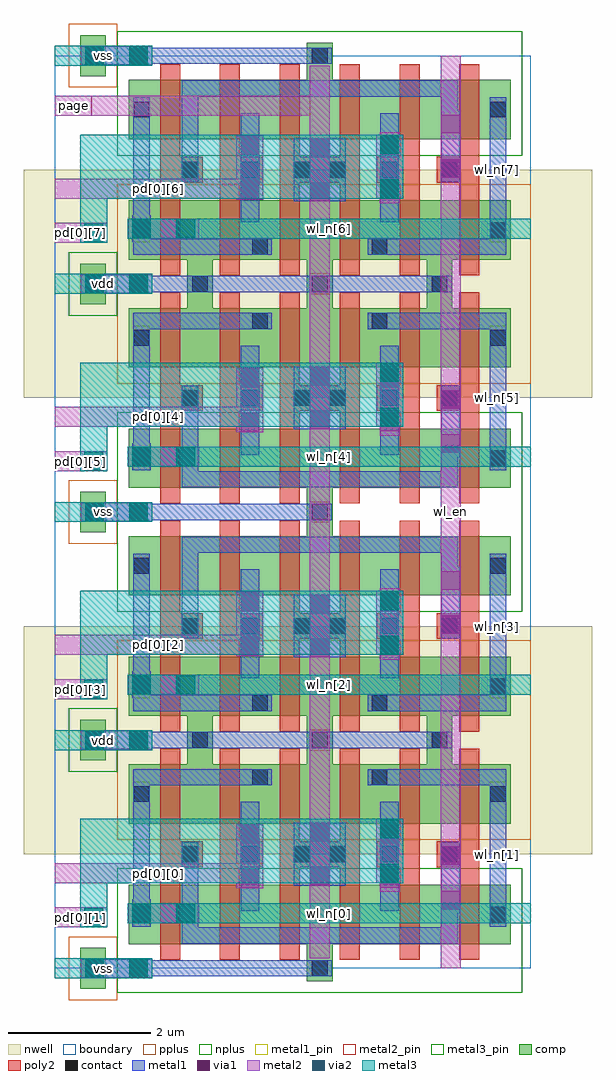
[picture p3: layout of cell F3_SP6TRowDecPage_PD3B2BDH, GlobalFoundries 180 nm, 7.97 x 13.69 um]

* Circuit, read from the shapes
.subckt F3_SP6TRowDecPage_PD3B2BDH page pd[0][0] pd[0][1] pd[0][2] pd[0][3] pd[0][4] pd[0][5] pd[0][6] pd[0][7] vdd vss wl_en wl_n[0] wl_n[1] wl_n[2] wl_n[3] wl_n[4] wl_n[5] wl_n[6] wl_n[7]
XM1 n1 wl_en wl_n[0] vss nfet_03v3 w=0.83u l=0.28u
XM2 n2 wl_en wl_n[2] vss nfet_03v3 w=0.83u l=0.28u
XM3 n3 wl_en wl_n[4] vss nfet_03v3 w=0.83u l=0.28u
XM4 n4 wl_en wl_n[6] vss nfet_03v3 w=0.83u l=0.28u
XM5 n5 pd[0][0] n1 vss nfet_03v3 w=0.83u l=0.28u
XM6 n6 pd[0][2] n2 vss nfet_03v3 w=0.83u l=0.28u
XM7 n7 pd[0][4] n3 vss nfet_03v3 w=0.83u l=0.28u
XM8 n8 pd[0][6] n4 vss nfet_03v3 w=0.83u l=0.28u
XM9 vss page n5 vss nfet_03v3 w=0.83u l=0.28u
XM10 vss page n6 vss nfet_03v3 w=0.83u l=0.28u
XM11 vss page n7 vss nfet_03v3 w=0.83u l=0.28u
XM12 vss page n8 vss nfet_03v3 w=0.83u l=0.28u
XM13 n9 page vss vss nfet_03v3 w=0.83u l=0.28u
XM14 n10 page vss vss nfet_03v3 w=0.83u l=0.28u
XM15 n11 page vss vss nfet_03v3 w=0.83u l=0.28u
XM16 n12 page vss vss nfet_03v3 w=0.83u l=0.28u
XM17 n13 pd[0][1] n9 vss nfet_03v3 w=0.83u l=0.28u
XM18 n14 pd[0][3] n10 vss nfet_03v3 w=0.83u l=0.28u
XM19 n15 pd[0][5] n11 vss nfet_03v3 w=0.83u l=0.28u
XM20 n16 pd[0][7] n12 vss nfet_03v3 w=0.83u l=0.28u
XM21 wl_n[1] wl_en n13 vss nfet_03v3 w=0.83u l=0.28u
XM22 wl_n[3] wl_en n14 vss nfet_03v3 w=0.83u l=0.28u
XM23 wl_n[5] wl_en n15 vss nfet_03v3 w=0.83u l=0.28u
XM24 wl_n[7] wl_en n16 vss nfet_03v3 w=0.83u l=0.28u
XM25 vdd wl_en wl_n[0] vdd pfet_03v3 w=0.83u l=0.28u
XM26 vdd wl_en wl_n[2] vdd pfet_03v3 w=0.83u l=0.28u
XM27 vdd wl_en wl_n[4] vdd pfet_03v3 w=0.83u l=0.28u
XM28 vdd wl_en wl_n[6] vdd pfet_03v3 w=0.83u l=0.28u
XM29 wl_n[0] pd[0][0] vdd vdd pfet_03v3 w=0.83u l=0.28u
XM30 wl_n[2] pd[0][2] vdd vdd pfet_03v3 w=0.83u l=0.28u
XM31 wl_n[4] pd[0][4] vdd vdd pfet_03v3 w=0.83u l=0.28u
XM32 wl_n[6] pd[0][6] vdd vdd pfet_03v3 w=0.83u l=0.28u
XM33 vdd page wl_n[0] vdd pfet_03v3 w=0.83u l=0.28u
XM34 vdd page wl_n[2] vdd pfet_03v3 w=0.83u l=0.28u
XM35 vdd page wl_n[4] vdd pfet_03v3 w=0.83u l=0.28u
XM36 vdd page wl_n[6] vdd pfet_03v3 w=0.83u l=0.28u
XM37 wl_n[1] page vdd vdd pfet_03v3 w=0.83u l=0.28u
XM38 wl_n[3] page vdd vdd pfet_03v3 w=0.83u l=0.28u
XM39 wl_n[5] page vdd vdd pfet_03v3 w=0.83u l=0.28u
XM40 wl_n[7] page vdd vdd pfet_03v3 w=0.83u l=0.28u
XM41 vdd pd[0][1] wl_n[1] vdd pfet_03v3 w=0.83u l=0.28u
XM42 vdd pd[0][3] wl_n[3] vdd pfet_03v3 w=0.83u l=0.28u
XM43 vdd pd[0][5] wl_n[5] vdd pfet_03v3 w=0.83u l=0.28u
XM44 vdd pd[0][7] wl_n[7] vdd pfet_03v3 w=0.83u l=0.28u
XM45 wl_n[1] wl_en vdd vdd pfet_03v3 w=0.83u l=0.28u
XM46 wl_n[3] wl_en vdd vdd pfet_03v3 w=0.83u l=0.28u
XM47 wl_n[5] wl_en vdd vdd pfet_03v3 w=0.83u l=0.28u
XM48 wl_n[7] wl_en vdd vdd pfet_03v3 w=0.83u l=0.28u
.ends

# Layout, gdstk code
import gdstk
lib = gdstk.Library(unit=1e-6, precision=1e-09)
def R(c, l, rs):  # rectangles x0, y0, x1, y1
    for r in rs: c.add(gdstk.rectangle(r[:2], r[2:], *l))
def A(c, l, x, y, w, h, nx, ny, dx, dy):  # array of equal rectangles
    R(c, l, [(x+i*dx, y+j*dy, x+i*dx+w, y+j*dy+h) for i in range(nx) for j in range(ny)])
def P(c, l, *ps):  # polygons
    for p in ps: c.add(gdstk.Polygon(p, *l))
boundary = (0, 0)
nwell = (21, 0)
comp = (22, 0)
poly2 = (30, 0)
pplus = (31, 0)
nplus = (32, 0)
contact = (33, 0)
metal1 = (34, 0)
metal1_pin = (34, 10)
via1 = (35, 0)
metal2 = (36, 0)
metal2_pin = (36, 10)
via2 = (38, 0)
metal3 = (42, 0)
metal3_pin = (42, 10)

f3_sp6trowdecodernand3x2 = lib.new_cell('F3_SP6TRowDecoderNand3X2')
R(f3_sp6trowdecodernand3x2, boundary, [(0,0,6.68,3.2)])
R(f3_sp6trowdecodernand3x2, nwell, [(-0.43,1.6,7.54,3.915)])
A(f3_sp6trowdecodernand3x2, comp, 1.86, 2.03, 0.36, 1.35, 3, 1, 1.68, 0)
A(f3_sp6trowdecodernand3x2, comp, 1.86, 3.02, 0.36, 0.36, 3, 1, 1.68, 0)
R(f3_sp6trowdecodernand3x2, comp, [(0.36,-0.285,0.72,0.285), (3.54,-0.18,3.9,1.17), (3.54,-0.18,3.9,0.18), (1.04,0.34,6.4,1.17), (1.04,2.03,6.4,2.86), (0.36,2.915,0.72,3.485)])
P(f3_sp6trowdecodernand3x2, poly2, [(3.16,0.12),(3.16,3.08),(3.44,3.08),(3.44,1.78),(4,1.78),(4,3.08),(4.28,3.08),(4.28,0.12),(4,0.12),(4,1.42),(3.44,1.42),(3.44,0.12)],
  [(1.48,0.12),(1.48,3.08),(1.76,3.08),(1.76,1.78),(2.08,1.78),(2.08,1.42),(1.76,1.42),(1.76,0.12)],
  [(2.32,0.12),(2.32,3.08),(2.6,3.08),(2.6,1.78),(2.92,1.78),(2.92,1.42),(2.6,1.42),(2.6,0.12)],
  [(4.84,0.12),(4.84,1.42),(4.52,1.42),(4.52,1.78),(4.84,1.78),(4.84,3.08),(5.12,3.08),(5.12,0.12)],
  [(5.68,0.12),(5.68,1.42),(5.36,1.42),(5.36,1.78),(5.68,1.78),(5.68,3.08),(5.96,3.08),(5.96,0.12)])
R(f3_sp6trowdecodernand3x2, pplus, [(0.2,-0.445,0.88,0.445), (0.88,1.8,6.68,3.54)])
R(f3_sp6trowdecodernand3x2, nplus, [(0.88,-0.34,6.56,1.4), (0.2,2.755,0.88,3.645)])
A(f3_sp6trowdecodernand3x2, contact, 1.93, 3.09, 0.22, 0.22, 3, 1, 1.68, 0)
R(f3_sp6trowdecodernand3x2, contact, [(0.43,-0.11,0.65,0.11), (3.61,-0.11,3.83,0.11), (1.11,0.645,1.33,0.865), (6.11,0.645,6.33,0.865), (1.79,1.49,2.01,1.71), (2.63,1.49,2.85,1.71), (3.36,1.49,3.58,1.71), (3.86,1.49,4.08,1.71), (4.59,1.49,4.81,1.71), (5.43,1.49,5.65,1.71), (1.11,2.335,1.33,2.555), (6.11,2.335,6.33,2.555), (2.77,2.57,2.99,2.79), (4.45,2.57,4.67,2.79), (0.43,3.09,0.65,3.31)])
R(f3_sp6trowdecodernand3x2, metal1, [(2.61,0.805,2.87,2.335), (4.57,0.805,4.83,2.335), (3.355,1.16,4.085,2.04)])
P(f3_sp6trowdecodernand3x2, metal1, [(6.105,0.585),(6.105,2.565),(4.39,2.565),(4.39,2.795),(6.335,2.795),(6.335,0.585)],
  [(1.105,0.585),(1.105,2.795),(3.05,2.795),(3.05,2.565),(1.335,2.565),(1.335,0.585)],
  [(1.785,0.345),(1.785,1.77),(2.015,1.77),(2.015,0.575),(5.425,0.575),(5.425,1.77),(5.685,1.77),(5.685,0.77),(5.655,0.77),(5.655,0.345)],
  [(0.37,3.07),(0.37,3.33),(1.37,3.33),(1.37,3.315),(5.57,3.315),(5.57,3.085),(1.37,3.085),(1.37,3.07)],
  [(0.37,-0.13),(0.37,0.13),(1.37,0.13),(1.37,0.115),(3.89,0.115),(3.89,-0.115),(1.37,-0.115),(1.37,-0.13)])
R(f3_sp6trowdecodernand3x2, metal1_pin, [(1.105,0.585,1.335,2.615), (6.105,0.585,6.335,2.615), (2.61,0.805,2.87,2.335), (4.57,0.805,4.83,2.335)])
R(f3_sp6trowdecodernand3x2, via1, [(0.43,-0.13,0.69,0.13), (1.05,-0.13,1.31,0.13), (5.425,0.83,5.685,1.09), (3.59,1.16,3.85,1.42), (5.425,1.45,5.685,1.71), (3.59,1.78,3.85,2.04), (0.43,3.07,0.69,3.33), (1.05,3.07,1.31,3.33)])
R(f3_sp6trowdecodernand3x2, metal2, [(0.37,-0.14,1.37,0.14), (5.415,0,5.695,3.2), (3.58,0.14,3.86,3.06), (0.37,3.06,1.37,3.34)])
R(f3_sp6trowdecodernand3x2, metal2_pin, [(5.415,0,5.695,3.2), (3.58,0.14,3.86,3.06)])
R(f3_sp6trowdecodernand3x2, via2, [(0.43,-0.13,0.69,0.13), (1.05,-0.13,1.31,0.13), (0.43,3.07,0.69,3.33), (1.05,3.07,1.31,3.33)])
R(f3_sp6trowdecodernand3x2, metal3, [(0.37,-0.14,1.37,0.14), (0.37,3.06,1.37,3.34)])
R(f3_sp6trowdecodernand3x2, metal3_pin, [(0.37,-0.14,1.37,0.14), (0.37,3.06,1.37,3.34)])
f3_sp6trowdecodernand3x2.add(gdstk.Label('wl_n[1]', (6.22,1.6), layer=34, texttype=10))
f3_sp6trowdecodernand3x2.add(gdstk.Label('pd[0][1]', (4.7,1.57), layer=34, texttype=10))
f3_sp6trowdecodernand3x2.add(gdstk.Label('pd[0][0]', (2.74,1.57), layer=34, texttype=10))
f3_sp6trowdecodernand3x2.add(gdstk.Label('wl_n[0]', (1.22,1.6), layer=34, texttype=10))
f3_sp6trowdecodernand3x2.add(gdstk.Label('vdd', (0.87,3.2), layer=42, texttype=10))
f3_sp6trowdecodernand3x2.add(gdstk.Label('vss', (0.87,0), layer=42, texttype=10))
f3_sp6trowdecodernand3x2.add(gdstk.Label('page', (3.72,1.6), layer=36, texttype=10))
f3_sp6trowdecodernand3x2.add(gdstk.Label('wl_en', (5.555,1.6), layer=36, texttype=10))

f3_sp6trowdecpage_pd3b2b = lib.new_cell('F3_SP6TRowDecPage_PD3B2BDH')
R(f3_sp6trowdecpage_pd3b2b, boundary, [(0,0,6.68,12.8)])
A(f3_sp6trowdecpage_pd3b2b, metal1, 1.09, 0.585, 0.26, 0.38, 1, 4, 0, 3.2)
A(f3_sp6trowdecpage_pd3b2b, metal1, 6.105, 0.585, 0.23, 2.03, 1, 4, 0, 3.2)
R(f3_sp6trowdecpage_pd3b2b, metal1, [(2.61,1.07,2.87,2.07), (4.57,1.07,4.83,2.07), (2.61,4.33,2.87,5.33), (4.57,4.33,4.83,5.33), (2.61,7.47,2.87,8.47), (4.57,7.47,4.83,8.47), (2.61,10.73,2.87,11.73), (4.57,10.73,4.83,11.73)])
A(f3_sp6trowdecpage_pd3b2b, metal1_pin, 6.105, 0.585, 0.23, 2.03, 1, 4, 0, 3.2)
A(f3_sp6trowdecpage_pd3b2b, via1, 1.09, 0.645, 0.26, 0.26, 1, 4, 0, 3.2)
R(f3_sp6trowdecpage_pd3b2b, via1, [(2.61,1.13,2.87,1.39), (4.57,1.13,4.83,1.39), (2.61,1.75,2.87,2.01), (4.57,1.75,4.83,2.01), (2.61,4.39,2.87,4.65), (4.57,4.39,4.83,4.65), (2.61,5.01,2.87,5.27), (4.57,5.01,4.83,5.27), (2.61,7.53,2.87,7.79), (4.57,7.53,4.83,7.79), (2.61,8.15,2.87,8.41), (4.57,8.15,4.83,8.41), (2.61,10.79,2.87,11.05), (4.57,10.79,4.83,11.05), (2.61,11.41,2.87,11.67), (4.57,11.41,4.83,11.67)])
A(f3_sp6trowdecpage_pd3b2b, metal2, 0, 0.575, 0.74, 0.28, 1, 4, 0, 3.2)
A(f3_sp6trowdecpage_pd3b2b, metal2, 1.03, 0.635, 1, 0.28, 1, 4, 0, 3.2)
R(f3_sp6trowdecpage_pd3b2b, metal2, [(5.415,0,5.695,12.8)])
P(f3_sp6trowdecpage_pd3b2b, metal2, [(3.58,1.6),(3.58,11.96),(0,11.96),(0,12.24),(3.86,12.24),(3.86,1.6)],
  [(4.56,4.33),(4.56,4.395),(4.51,4.395),(4.51,5.295),(4.56,5.295),(4.56,5.33),(4.84,5.33),(4.84,5.295),(4.89,5.295),(4.89,4.395),(4.84,4.395),(4.84,4.33)],
  [(4.56,10.73),(4.56,10.795),(4.51,10.795),(4.51,11.695),(4.56,11.695),(4.56,11.73),(4.84,11.73),(4.84,11.695),(4.89,11.695),(4.89,10.795),(4.84,10.795),(4.84,10.73)],
  [(2.55,4.38),(2.55,4.395),(0,4.395),(0,4.675),(2.55,4.675),(2.55,5.28),(2.93,5.28),(2.93,4.38)],
  [(2.55,10.78),(2.55,10.795),(0,10.795),(0,11.075),(2.55,11.075),(2.55,11.68),(2.93,11.68),(2.93,10.78)],
  [(4.56,1.07),(4.56,1.195),(4.51,1.195),(4.51,2.095),(4.89,2.095),(4.89,1.195),(4.84,1.195),(4.84,1.07)],
  [(4.56,7.47),(4.56,7.595),(4.51,7.595),(4.51,8.495),(4.89,8.495),(4.89,7.595),(4.84,7.595),(4.84,7.47)],
  [(2.55,1.12),(2.55,1.195),(0,1.195),(0,1.475),(2.55,1.475),(2.55,2.02),(2.93,2.02),(2.93,1.12)],
  [(2.55,7.52),(2.55,7.595),(0,7.595),(0,7.875),(2.55,7.875),(2.55,8.42),(2.93,8.42),(2.93,7.52)])
A(f3_sp6trowdecpage_pd3b2b, metal2_pin, 0, 0.575, 0.74, 0.28, 1, 4, 0, 3.2)
A(f3_sp6trowdecpage_pd3b2b, metal2_pin, 0, 1.195, 2.93, 0.28, 1, 4, 0, 3.2)
R(f3_sp6trowdecpage_pd3b2b, metal2_pin, [(5.415,0,5.695,12.8), (0,11.96,0.52,12.24)])
A(f3_sp6trowdecpage_pd3b2b, via2, 0.42, 0.585, 0.26, 0.26, 1, 4, 0, 3.2)
A(f3_sp6trowdecpage_pd3b2b, via2, 1.09, 0.645, 0.26, 0.26, 1, 4, 0, 3.2)
A(f3_sp6trowdecpage_pd3b2b, via2, 1.71, 0.645, 0.26, 0.26, 1, 4, 0, 3.2)
R(f3_sp6trowdecpage_pd3b2b, via2, [(4.57,1.205,4.83,1.465), (4.57,1.825,4.83,2.085), (4.57,4.405,4.83,4.665), (4.57,5.025,4.83,5.285), (4.57,7.605,4.83,7.865), (4.57,8.225,4.83,8.485), (4.57,10.805,4.83,11.065), (4.57,11.425,4.83,11.685)])
A(f3_sp6trowdecpage_pd3b2b, metal3, 0, -0.14, 1.37, 0.28, 1, 5, 0, 3.2)
A(f3_sp6trowdecpage_pd3b2b, metal3, 1.03, 0.635, 5.65, 0.28, 1, 4, 0, 3.2)
P(f3_sp6trowdecpage_pd3b2b, metal3, [(0.36,0.575),(0.36,2.095),(4.89,2.095),(4.89,1.195),(0.74,1.195),(0.74,0.575)],
  [(0.36,3.775),(0.36,5.295),(4.89,5.295),(4.89,4.395),(0.74,4.395),(0.74,3.775)],
  [(0.36,6.975),(0.36,8.495),(4.89,8.495),(4.89,7.595),(0.74,7.595),(0.74,6.975)],
  [(0.36,10.175),(0.36,11.695),(4.89,11.695),(4.89,10.795),(0.74,10.795),(0.74,10.175)])
A(f3_sp6trowdecpage_pd3b2b, metal3_pin, 0, -0.14, 1.37, 0.28, 1, 5, 0, 3.2)
A(f3_sp6trowdecpage_pd3b2b, metal3_pin, 1.03, 0.635, 5.65, 0.28, 1, 4, 0, 3.2)
f3_sp6trowdecpage_pd3b2b.add(gdstk.Reference(f3_sp6trowdecodernand3x2, (0,6.4), x_reflection=True))
f3_sp6trowdecpage_pd3b2b.add(gdstk.Reference(f3_sp6trowdecodernand3x2, (0,12.8), x_reflection=True))
f3_sp6trowdecpage_pd3b2b.add(gdstk.Reference(f3_sp6trowdecodernand3x2, (0,0)))
f3_sp6trowdecpage_pd3b2b.add(gdstk.Reference(f3_sp6trowdecodernand3x2, (0,6.4)))
f3_sp6trowdecpage_pd3b2b.add(gdstk.Label('wl_n[7]', (6.22,11.2), layer=34, texttype=10))
f3_sp6trowdecpage_pd3b2b.add(gdstk.Label('wl_n[5]', (6.22,8), layer=34, texttype=10))
f3_sp6trowdecpage_pd3b2b.add(gdstk.Label('wl_n[3]', (6.22,4.8), layer=34, texttype=10))
f3_sp6trowdecpage_pd3b2b.add(gdstk.Label('wl_n[1]', (6.22,1.6), layer=34, texttype=10))
f3_sp6trowdecpage_pd3b2b.add(gdstk.Label('vdd', (0.685,3.2), layer=42, texttype=10))
f3_sp6trowdecpage_pd3b2b.add(gdstk.Label('vdd', (0.685,9.6), layer=42, texttype=10))
f3_sp6trowdecpage_pd3b2b.add(gdstk.Label('vss', (0.685,0), layer=42, texttype=10))
f3_sp6trowdecpage_pd3b2b.add(gdstk.Label('vss', (0.685,6.4), layer=42, texttype=10))
f3_sp6trowdecpage_pd3b2b.add(gdstk.Label('vss', (0.685,12.8), layer=42, texttype=10))
f3_sp6trowdecpage_pd3b2b.add(gdstk.Label('wl_n[6]', (3.855,10.375), layer=42, texttype=10))
f3_sp6trowdecpage_pd3b2b.add(gdstk.Label('wl_n[2]', (3.855,3.975), layer=42, texttype=10))
f3_sp6trowdecpage_pd3b2b.add(gdstk.Label('wl_n[4]', (3.855,7.175), layer=42, texttype=10))
f3_sp6trowdecpage_pd3b2b.add(gdstk.Label('wl_n[0]', (3.855,0.775), layer=42, texttype=10))
f3_sp6trowdecpage_pd3b2b.add(gdstk.Label('wl_en', (5.555,6.4), layer=36, texttype=10))
f3_sp6trowdecpage_pd3b2b.add(gdstk.Label('pd[0][6]', (1.465,10.935), layer=36, texttype=10))
f3_sp6trowdecpage_pd3b2b.add(gdstk.Label('pd[0][5]', (0.37,7.115), layer=36, texttype=10))
f3_sp6trowdecpage_pd3b2b.add(gdstk.Label('pd[0][4]', (1.465,7.735), layer=36, texttype=10))
f3_sp6trowdecpage_pd3b2b.add(gdstk.Label('page', (0.26,12.1), layer=36, texttype=10))
f3_sp6trowdecpage_pd3b2b.add(gdstk.Label('pd[0][3]', (0.37,3.915), layer=36, texttype=10))
f3_sp6trowdecpage_pd3b2b.add(gdstk.Label('pd[0][7]', (0.37,10.315), layer=36, texttype=10))
f3_sp6trowdecpage_pd3b2b.add(gdstk.Label('pd[0][2]', (1.465,4.535), layer=36, texttype=10))
f3_sp6trowdecpage_pd3b2b.add(gdstk.Label('pd[0][1]', (0.37,0.715), layer=36, texttype=10))
f3_sp6trowdecpage_pd3b2b.add(gdstk.Label('pd[0][0]', (1.465,1.335), layer=36, texttype=10))

lib.write_gds('F3_SP6TRowDecPage_PD3B2BDH.gds')
